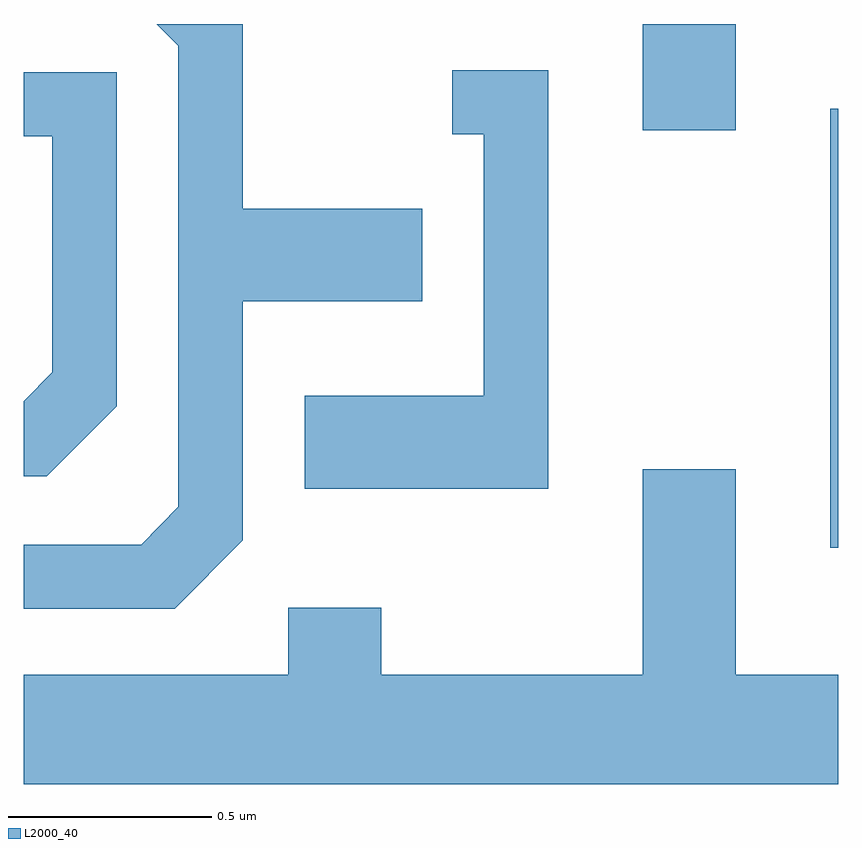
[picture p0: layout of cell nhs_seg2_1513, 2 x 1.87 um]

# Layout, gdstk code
import gdstk
lib = gdstk.Library(unit=1e-6, precision=1e-09)
def R(c, l, rs):  # rectangles x0, y0, x1, y1
    for r in rs: c.add(gdstk.rectangle(r[:2], r[2:], *l))
def P(c, l, *ps):  # polygons
    for p in ps: c.add(gdstk.Polygon(p, *l))
L2000_40 = (2000, 40)

nhs_seg2_1513 = lib.new_cell('nhs_seg2_1513')
R(nhs_seg2_1513, L2000_40, [(198.591,984.516,198.611,985.594), (198.131,985.541,198.359,985.802)])
P(nhs_seg2_1513, L2000_40, [(197.149,984.534),(197.149,985.121),(197.589,985.121),(197.589,985.349),(197.149,985.349),(197.149,985.802),(196.938,985.802),(196.991,985.749),(196.991,984.617),(196.899,984.524),(196.611,984.524),(196.611,984.366),(196.982,984.366)],
  [(197.899,985.689),(197.663,985.689),(197.663,985.531),(197.741,985.531),(197.741,984.889),(197.301,984.889),(197.301,984.661),(197.899,984.661)],
  [(196.839,984.864),(196.839,985.684),(196.611,985.684),(196.611,985.526),(196.681,985.526),(196.681,984.947),(196.611,984.876),(196.611,984.691),(196.667,984.691)],
  [(198.611,984.204),(198.359,984.204),(198.359,984.709),(198.131,984.709),(198.131,984.204),(197.489,984.204),(197.489,984.369),(197.261,984.369),(197.261,984.204),(196.611,984.204),(196.611,983.936),(198.611,983.936)])

lib.write_gds('nhs_seg2_1513.gds')
